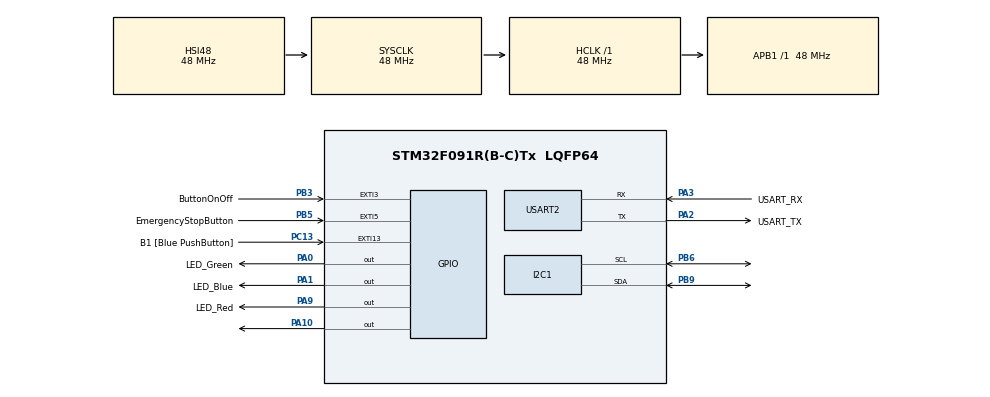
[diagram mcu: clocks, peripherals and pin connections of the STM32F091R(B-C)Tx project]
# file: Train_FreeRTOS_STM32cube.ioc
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Mcu.Family=STM32F0
Mcu.Name=STM32F091R(B-C)Tx
Mcu.Package=LQFP64
NVIC.EXTI2_3_IRQn=true\:0\:0\:false\:false\:true\:true\:true\:true
NVIC.EXTI4_15_IRQn=true\:0\:0\:false\:false\:true\:true\:true\:true
NVIC.I2C1_IRQn=true\:0\:0\:false\:false\:true\:true\:true\:true
NVIC.TIM6_DAC_IRQn=true\:3\:0\:false\:false\:true\:false\:true\:true
NVIC.TimeBase=TIM6_DAC_IRQn
NVIC.TimeBaseIP=TIM6
PA0.GPIO_Label=LED_Green
PA0.Signal=GPIO_Output
PA1.GPIO_Label=LED_Blue
PA1.Signal=GPIO_Output
PA10.Signal=GPIO_Output
PA13.GPIO_Label=TMS
PA13.Signal=SYS_SWDIO
PA14.GPIO_Label=TCK
PA14.Signal=SYS_SWCLK
PA2.GPIO_Label=USART_TX
PA2.GPIO_Mode=GPIO_MODE_AF_PP
PA2.GPIO_PuPd=GPIO_NOPULL
PA2.GPIO_Speed=GPIO_SPEED_FREQ_LOW
PA2.Mode=Asynchronous
PA2.Signal=USART2_TX
PA3.GPIO_Label=USART_RX
PA3.GPIO_Mode=GPIO_MODE_AF_PP
PA3.GPIO_PuPd=GPIO_NOPULL
PA3.GPIO_Speed=GPIO_SPEED_FREQ_LOW
PA3.Mode=Asynchronous
PA3.Signal=USART2_RX
PA4.GPIO_PuPd=GPIO_NOPULL
PA4.Signal=SPI1_NSS
PA5.GPIO_PuPd=GPIO_PULLUP
PA5.Signal=SPI1_SCK
PA6.GPIO_PuPd=GPIO_PULLUP
PA6.Signal=SPI1_MISO
PA7.GPIO_PuPd=GPIO_PULLUP
PA7.Signal=SPI1_MOSI
PA9.GPIO_Label=LED_Red
PA9.Signal=GPIO_Output
PB3.GPIO_Label=ButtonOnOff
PB3.GPIO_PuPd=GPIO_PULLUP
PB3.Signal=GPXTI3
PB5.GPIO_Label=EmergencyStopButton
PB5.GPIO_PuPd=GPIO_PULLUP
PB5.Signal=GPXTI5
PB6.GPIO_Pu=GPIO_PULLUP
PB6.Mode=I2C
PB6.Signal=I2C1_SCL
PB9.GPIO_Pu=GPIO_PULLUP
PB9.Mode=I2C
PB9.Signal=I2C1_SDA
PC13.GPIO_Label=B1 [Blue PushButton]
PC13.GPIO_ModeDefaultEXTI=GPIO_MODE_IT_FALLING
PC13.Signal=GPXTI13
PC14OSC32_IN.Signal=RCC_OSC32_IN
PC15OSC32_OUT.Signal=RCC_OSC32_OUT
PF0-OSC_IN.Signal=RCC_OSC_IN
PF1-OSC_OUT.Signal=RCC_OSC_OUT
ProjectManager.HeapSize=0x200
ProjectManager.StackSize=0x400
ProjectManager.TargetToolchain=STM32CubeIDE
RCC.AHBFreq_Value=48000000
RCC.APB1Freq_Value=48000000
RCC.APB1TimFreq_Value=48000000
RCC.FLatency-AdvancedSettings=FLASH_LATENCY_1
RCC.HCLKFreq_Value=48000000
RCC.PLLDivider=RCC_PREDIV_DIV2
RCC.PLLMUL=RCC_PLL_MUL12
RCC.PREFETCH_ENABLE-AdvancedSettings=1
RCC.SYSCLKFreq_VALUE=48000000
RCC.SYSCLKSource=RCC_SYSCLKSOURCE_HSI48
USART2.VirtualMode-Asynchronous=VM_ASYNC
VP_SYS_VS_tim6.Mode=TIM6
board=NUCLEO-F091RC

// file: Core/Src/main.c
/* USER CODE BEGIN Header */
/**
  ******************************************************************************
  * @file           : main.c
  * @brief          : Main program body
  ******************************************************************************
  * @attention
  *
  * Copyright (c) 2023 STMicroelectronics.
  * All rights reserved.
  *
  * This software is licensed under terms that can be found in the LICENSE file
  * in the root directory of this software component.
  * If no LICENSE file comes with this software, it is provided AS-IS.
  *
  ******************************************************************************
  */
/* USER CODE END Header */
#include "main.h"

/* USER CODE BEGIN PTD */
/** FSM RELATED **/
typedef enum {OFF_STATE, ON_STATE, EMERGENCY_STATE} MEF1_STATES; //known states (constants) of the MEF (Moore)
typedef uint8_t (*evaluateEvent) (void); //pointer to a function that evaluates an event
typedef struct {evaluateEvent Event; uint8_t nextState; } MEF_Transition; //transition defined by an event and next state after event evaluation
typedef void (*MEF_Action) (); //pointer to a function for the state actions (on entry/during/on exit
typedef struct {
	MEF_Action onEntry; //what to do on entry
	MEF_Action During; //what to do during the state
	MEF_Action onExit; //what to do just before exiting the state
	uint8_t numberTransitions;
	MEF_Transition *arrayTransitions;
}MEF_State; //state of an MEF
typedef struct {
	volatile uint8_t MEF_Active; //if MEF is active or not
	volatile uint8_t currentState; //MEF1_STATES or MEF2_STATES,etc.
	uint8_t numberStates; //number of states of the MEF
	volatile uint8_t flagStateChange; //if there has been a change of states
	MEF_State *arrayStates;
	//moved to MEF_State: MEF_Transition *arrayTransitions;
} MEF_MEF; //MEF

/* USER CODE END PTD */

/* USER CODE BEGIN PD */
/** FSM RELATED **/
#define FSM_INACTIVE 0
#define FSM_ACTIVE 1
#define NUMBER_STATES 3
#define STATE_NOT_CHANGED 0
#define STATE_CHANGED 1
#define FALSE 0
#define TRUE 1
#define NUMBER_TRANSITIONS_OFF 3
#define NUMBER_TRANSITIONS_ON 3
#define NUMBER_TRANSITIONS_EMERGENCY 3

/*Temperature, I2C (ADS1115)*/
#define LENGTH_QUEUE_TEMP 2
#define ADS1115_ADDRESS (0x48) //0x48 is address of ADS1115 when ADDR connected to GND
#define ADS1115_CONVERSION_REGISTER_BYTES 2
#define ADS1115_GAIN 4076 //Gain amplifier in mV, check ADS1115 datasheet
#define ADS1115_MAX 32768 //15 bytes

//Group of event flags (bits) for the LCD_Arduino task
#define FLAG_STATUS_CHANGED (1<<0)
#define FLAG_STATION_CHANGED (1<<1)
#define FLAG_SPEED_CHANGED (1<<2)

/* USER CODE END PD */

I2C_HandleTypeDef hi2c1;

UART_HandleTypeDef huart2;

/* USER CODE BEGIN PV */
uint8_t uiFlagOnOff = FALSE; //handled by ButtonOnOff_Pin interrupt handler. button with spring return, not switch
uint8_t uiFlagEmergency = FALSE;//handled by EmergencyStopButton_Pin interrupt handler. button with spring return, not switch

//Group of event flags (bits) for the LCD_Arduino task
EventGroupHandle_t xGroupFlagsLCDArduino;
EventBits_t uxBitsFlagsLCDArduino;

//Temperature(I2C). Receive an item from a queue. The item is received by copy so a buffer of adequate size must be provided.
QueueHandle_t xQueue_Temperature = NULL;
volatile uint16_t uiBuffer_QueueTemperature;
uint8_t uiBytes_to_ADS1115_reg[3] = {0x00,0x00,0x00}; //for ADS1115 configuration (it can require 3 bytes)
uint8_t uiBytes_from_ADS1115[2] = {0x00,0x00}; //data received from ADS1115 (conversion register)
volatile uint16_t uiLastADS1115_raw = 0;
volatile uint16_t uiLastADS1115_mV = 0;
uint16_t uiADS1115_address = ADS1115_ADDRESS<<1; //STM32 HAL for I2C transmit/receive requires left shift
volatile uint8_t uiStep = 0; //needed for transmission/reception if we use IT functions,because they return OK after every byte sent and calls seem to be overwritten

/* USER CODE END PV */

void SystemClock_Config(void);
static void MX_GPIO_Init(void);
static void MX_USART2_UART_Init(void);
static void MX_I2C1_Init(void);
/* USER CODE BEGIN PFP */
/** FSM functions **/
// Related to states: onEntry, during, onExit
void onEntry_Off();
void during_Off();
void onExit_Off();
void onEntry_On();
void during_On();
void onExit_On();
void onEntry_Emergency();
void during_Emergency();
void onExit_Emergency();
// Evaluate events for transitions
uint8_t evaluate_Event_Off_to_On();
uint8_t evaluate_Event_Off_to_Emergency();
uint8_t evaluate_Event_Off_Off();
uint8_t evaluate_Event_On_to_Off();
uint8_t evaluate_Event_On_to_Emergency();
uint8_t evaluate_Event_On_On();
uint8_t evaluate_Event_Emergency_to_Off();
uint8_t evaluate_Event_Emergency_to_On();
uint8_t evaluate_Event_Emergency_Emergency();

/** Task handlers **/
static void FSM_task_handler (void *parameters);
static void Motor_Control_task_handler (void *parameters);
static void Read_Temperature_task_handler (void *parameters);
static void LCD_Arduino_task_handler (void *parameters);

//Task handles, I call them pointers to avoid confussion with handlers (which are functions)
TaskHandle_t FSM_taskPointer;
TaskHandle_t Motor_Control_taskPointer;
TaskHandle_t Read_Temperature_taskPointer;
TaskHandle_t LCD_Arduino_taskPointer;

/*For the usage of printf via HAL_UART_Transmit*/
#ifdef __GNUC__
#define PUTCHAR_PROTOTYPE int __io_putchar(int ch)
#else
#define PUTCHAR_PROTOTYPE int fputc(int ch, FILE *f)
#endif

PUTCHAR_PROTOTYPE
{
  HAL_UART_Transmit(&huart2, (uint8_t *)&ch, 1, HAL_MAX_DELAY);
  return ch;
}

/* USER CODE END PFP */

/* USER CODE BEGIN 0 */
//Transitions
MEF_Transition OFF_TRANSITIONS[NUMBER_TRANSITIONS_OFF] = {
		  {evaluate_Event_Off_Off, OFF_STATE},
		  {evaluate_Event_Off_to_On, ON_STATE},
		  {evaluate_Event_Off_to_Emergency, EMERGENCY_STATE}
};
MEF_Transition ON_TRANSITIONS[NUMBER_TRANSITIONS_ON] = {
		  {evaluate_Event_On_On, ON_STATE},
		  {evaluate_Event_On_to_Off, OFF_STATE},
		  {evaluate_Event_On_to_Emergency, EMERGENCY_STATE}
};
MEF_Transition EMERGENCY_TRANSITIONS[NUMBER_TRANSITIONS_EMERGENCY] = {
		  {evaluate_Event_Emergency_Emergency, EMERGENCY_STATE},
		  {evaluate_Event_Emergency_to_Off, OFF_STATE},
		  {evaluate_Event_Emergency_to_On, ON_STATE}
};
//States
MEF_State MEF1_STATES_ARRAY[NUMBER_STATES] = {
		  {onEntry_Off, during_Off, onExit_Off, NUMBER_TRANSITIONS_OFF, OFF_TRANSITIONS},
		  {onEntry_On, during_On, onExit_On, NUMBER_TRANSITIONS_ON, ON_TRANSITIONS},
		  {onEntry_Emergency, during_Emergency, onExit_Emergency, NUMBER_TRANSITIONS_EMERGENCY, EMERGENCY_TRANSITIONS}
};
//FSM instances
MEF_MEF MEF1 = {FSM_ACTIVE, OFF_STATE, NUMBER_STATES, STATE_NOT_CHANGED, MEF1_STATES_ARRAY};
/* USER CODE END 0 */

int main(void)
{
  /* USER CODE BEGIN 1 */
  //Status from tasks (BaseType_t is the most efficient data type for the architecture;i.e.:32-bit for 32-bit architecture)
  BaseType_t task_Status;
  //Event of flags for LCD Arduino task
  xGroupFlagsLCDArduino = xEventGroupCreate();
  if (xGroupFlagsLCDArduino == NULL){
	  printf("Not possible to create xFlagsLCDArduino event group \n");
  }

  /* USER CODE END 1 */

  /* MCU Configuration--------------------------------------------------------*/

  /* Reset of all peripherals, Initializes the Flash interface and the Systick. */
  HAL_Init();

  /* Configure the system clock */
  SystemClock_Config();

  /* Initialize all configured peripherals */
  MX_GPIO_Init();
  MX_USART2_UART_Init();
  MX_I2C1_Init();
  /* USER CODE BEGIN 2 */
  //although I could turn on the blue LED (OFF state) in MX_GPIO_Init,I prefer to do call the OFF entry
  onEntry_Off();
  //I decide to set priorities higher than tskIDLE_PRIORITY.
  //FSM control highest prio as I want that OnOff/Emergency interrupts wakes the task
  task_Status = xTaskCreate(FSM_task_handler, "FSMcontrol", 200, NULL, tskIDLE_PRIORITY+2, &FSM_taskPointer);
  configASSERT(task_Status == pdPASS); //if false, then infinite loop. good for debugging

  task_Status = xTaskCreate(Motor_Control_task_handler, "MotorControl", 200, NULL, tskIDLE_PRIORITY+1, &Motor_Control_taskPointer);
  configASSERT(task_Status == pdPASS); //if false, then infinite loop. good for debugging

  //Create queue for reading temperature. if the queue is not created, do not create the task
  xQueue_Temperature = xQueueCreate(LENGTH_QUEUE_TEMP, sizeof(uint16_t));
  if (xQueue_Temperature != NULL){
	  task_Status = xTaskCreate(Read_Temperature_task_handler, "ReadTemperature", 200, NULL, tskIDLE_PRIORITY+1, &Read_Temperature_taskPointer);
	  configASSERT(task_Status == pdPASS); //if false, then infinite loop. good for debugging
  }
  else{
	  printf("xQueue_Temperature failed to be created \n");
  }

  task_Status = xTaskCreate(LCD_Arduino_task_handler, "LCDArduino", 200, NULL, tskIDLE_PRIORITY+1, &LCD_Arduino_taskPointer);
  configASSERT(task_Status == pdPASS); //if false, then infinite loop. good for debugging

  //Start scheduler
  vTaskStartScheduler();
  //Code should not reach here. vTaskStartScheduler must have failed due to insufficient heap memory?

  /* USER CODE END 2 */

  /* Infinite loop */
  while (1)
  {

  }
}

void SystemClock_Config(void)
{
  RCC_OscInitTypeDef RCC_OscInitStruct = {0};
  RCC_ClkInitTypeDef RCC_ClkInitStruct = {0};
  RCC_PeriphCLKInitTypeDef PeriphClkInit = {0};

  /** Initializes the RCC Oscillators according to the specified parameters
  * in the RCC_OscInitTypeDef structure.
  */
  RCC_OscInitStruct.OscillatorType = RCC_OSCILLATORTYPE_HSI|RCC_OSCILLATORTYPE_HSI48;
  RCC_OscInitStruct.HSIState = RCC_HSI_ON;
  RCC_OscInitStruct.HSI48State = RCC_HSI48_ON;
  RCC_OscInitStruct.HSICalibrationValue = RCC_HSICALIBRATION_DEFAULT;
  RCC_OscInitStruct.PLL.PLLState = RCC_PLL_NONE;
  if (HAL_RCC_OscConfig(&RCC_OscInitStruct) != HAL_OK)
  {
    Error_Handler();
  }

  /** Initializes the CPU, AHB and APB buses clocks
  */
  RCC_ClkInitStruct.ClockType = RCC_CLOCKTYPE_HCLK|RCC_CLOCKTYPE_SYSCLK
                              |RCC_CLOCKTYPE_PCLK1;
  RCC_ClkInitStruct.SYSCLKSource = RCC_SYSCLKSOURCE_HSI48;
  RCC_ClkInitStruct.AHBCLKDivider = RCC_SYSCLK_DIV1;
  RCC_ClkInitStruct.APB1CLKDivider = RCC_HCLK_DIV1;

  if (HAL_RCC_ClockConfig(&RCC_ClkInitStruct, FLASH_LATENCY_1) != HAL_OK)
  {
    Error_Handler();
  }
  PeriphClkInit.PeriphClockSelection = RCC_PERIPHCLK_USART2|RCC_PERIPHCLK_I2C1;
  PeriphClkInit.Usart2ClockSelection = RCC_USART2CLKSOURCE_PCLK1;
  PeriphClkInit.I2c1ClockSelection = RCC_I2C1CLKSOURCE_HSI;
  if (HAL_RCCEx_PeriphCLKConfig(&PeriphClkInit) != HAL_OK)
  {
    Error_Handler();
  }
}

static void MX_I2C1_Init(void)
{

  hi2c1.Instance = I2C1;
  hi2c1.Init.Timing = 0x2000090E;
  hi2c1.Init.OwnAddress1 = 0;
  hi2c1.Init.AddressingMode = I2C_ADDRESSINGMODE_7BIT;
  hi2c1.Init.DualAddressMode = I2C_DUALADDRESS_DISABLE;
  hi2c1.Init.OwnAddress2 = 0;
  hi2c1.Init.OwnAddress2Masks = I2C_OA2_NOMASK;
  hi2c1.Init.GeneralCallMode = I2C_GENERALCALL_DISABLE;
  hi2c1.Init.NoStretchMode = I2C_NOSTRETCH_DISABLE;
  if (HAL_I2C_Init(&hi2c1) != HAL_OK)
  {
    Error_Handler();
  }

  /** Configure Analogue filter
  */
  if (HAL_I2CEx_ConfigAnalogFilter(&hi2c1, I2C_ANALOGFILTER_ENABLE) != HAL_OK)
  {
    Error_Handler();
  }

  /** Configure Digital filter
  */
  if (HAL_I2CEx_ConfigDigitalFilter(&hi2c1, 0) != HAL_OK)
  {
    Error_Handler();
  }

}

static void MX_USART2_UART_Init(void)
{

  huart2.Instance = USART2;
  huart2.Init.BaudRate = 115200;
  huart2.Init.WordLength = UART_WORDLENGTH_8B;
  huart2.Init.StopBits = UART_STOPBITS_1;
  huart2.Init.Parity = UART_PARITY_NONE;
  huart2.Init.Mode = UART_MODE_TX_RX;
  huart2.Init.HwFlowCtl = UART_HWCONTROL_NONE;
  huart2.Init.OverSampling = UART_OVERSAMPLING_16;
  huart2.Init.OneBitSampling = UART_ONE_BIT_SAMPLE_DISABLE;
  huart2.AdvancedInit.AdvFeatureInit = UART_ADVFEATURE_NO_INIT;
  if (HAL_UART_Init(&huart2) != HAL_OK)
  {
    Error_Handler();
  }

}

static void MX_GPIO_Init(void)
{
  GPIO_InitTypeDef GPIO_InitStruct = {0};

  /* GPIO Ports Clock Enable */
  __HAL_RCC_GPIOC_CLK_ENABLE();
  __HAL_RCC_GPIOF_CLK_ENABLE();
  __HAL_RCC_GPIOA_CLK_ENABLE();
  __HAL_RCC_GPIOB_CLK_ENABLE();

  /*Configure GPIO pin Output Level */
  HAL_GPIO_WritePin(GPIOA, LED_Green_Pin|LED_Blue_Pin|LED_Red_Pin|GPIO_PIN_10, GPIO_PIN_RESET);

  /*Configure GPIO pin : B1_Pin */
  GPIO_InitStruct.Pin = B1_Pin;
  GPIO_InitStruct.Mode = GPIO_MODE_IT_FALLING;
  GPIO_InitStruct.Pull = GPIO_NOPULL;
  HAL_GPIO_Init(B1_GPIO_Port, &GPIO_InitStruct);

  /*Configure GPIO pins : LED_Green_Pin LED_Blue_Pin LED_Red_Pin PA10 */
  GPIO_InitStruct.Pin = LED_Green_Pin|LED_Blue_Pin|LED_Red_Pin|GPIO_PIN_10;
  GPIO_InitStruct.Mode = GPIO_MODE_OUTPUT_PP;
  GPIO_InitStruct.Pull = GPIO_NOPULL;
  GPIO_InitStruct.Speed = GPIO_SPEED_FREQ_LOW;
  HAL_GPIO_Init(GPIOA, &GPIO_InitStruct);

  /*Configure GPIO pin : PA4 */
  GPIO_InitStruct.Pin = GPIO_PIN_4;
  GPIO_InitStruct.Mode = GPIO_MODE_AF_PP;
  GPIO_InitStruct.Pull = GPIO_NOPULL;
  GPIO_InitStruct.Speed = GPIO_SPEED_FREQ_HIGH;
  GPIO_InitStruct.Alternate = GPIO_AF0_SPI1;
  HAL_GPIO_Init(GPIOA, &GPIO_InitStruct);

  /*Configure GPIO pins : PA5 PA6 PA7 */
  GPIO_InitStruct.Pin = GPIO_PIN_5|GPIO_PIN_6|GPIO_PIN_7;
  GPIO_InitStruct.Mode = GPIO_MODE_AF_PP;
  GPIO_InitStruct.Pull = GPIO_PULLUP;
  GPIO_InitStruct.Speed = GPIO_SPEED_FREQ_HIGH;
  GPIO_InitStruct.Alternate = GPIO_AF0_SPI1;
  HAL_GPIO_Init(GPIOA, &GPIO_InitStruct);

  /*Configure GPIO pins : ButtonOnOff_Pin EmergencyStopButton_Pin */
  GPIO_InitStruct.Pin = ButtonOnOff_Pin|EmergencyStopButton_Pin;
  GPIO_InitStruct.Mode = GPIO_MODE_IT_RISING;
  GPIO_InitStruct.Pull = GPIO_PULLUP;
  HAL_GPIO_Init(GPIOB, &GPIO_InitStruct);

  /* EXTI interrupt init*/
  HAL_NVIC_SetPriority(EXTI2_3_IRQn, 0, 0);
  HAL_NVIC_EnableIRQ(EXTI2_3_IRQn);

  HAL_NVIC_SetPriority(EXTI4_15_IRQn, 0, 0);
  HAL_NVIC_EnableIRQ(EXTI4_15_IRQn);

}

/* USER CODE BEGIN 4 */
// Related to states: onEntry, during, onExit
void onEntry_Off(){
	//turn on blue LED, turn off the rest
	HAL_GPIO_WritePin(LED_Blue_GPIO_Port, LED_Blue_Pin, GPIO_PIN_SET);
	HAL_GPIO_WritePin(LED_Red_GPIO_Port, LED_Red_Pin, GPIO_PIN_RESET);
	HAL_GPIO_WritePin(LED_Green_GPIO_Port, LED_Green_Pin, GPIO_PIN_RESET);
}
void during_Off(){}
void onExit_Off(){}
void onEntry_On(){
	//turn on green LED, turn off the rest
	HAL_GPIO_WritePin(LED_Green_GPIO_Port, LED_Green_Pin, GPIO_PIN_SET);
	HAL_GPIO_WritePin(LED_Red_GPIO_Port, LED_Red_Pin, GPIO_PIN_RESET);
	HAL_GPIO_WritePin(LED_Blue_GPIO_Port, LED_Blue_Pin, GPIO_PIN_RESET);
}
void during_On(){}
void onExit_On(){}
void onEntry_Emergency(){
	//turn on red LED, turn off the rest
	HAL_GPIO_WritePin(LED_Red_GPIO_Port, LED_Red_Pin, GPIO_PIN_SET);
	HAL_GPIO_WritePin(LED_Green_GPIO_Port, LED_Green_Pin, GPIO_PIN_RESET);
	HAL_GPIO_WritePin(LED_Blue_GPIO_Port, LED_Blue_Pin, GPIO_PIN_RESET);
}
void during_Emergency(){}
void onExit_Emergency(){}
// Evaluate events for transitions
uint8_t evaluate_Event_Off_to_On(){
	if (uiFlagOnOff && !uiFlagEmergency){
		//clear flag
		uiFlagOnOff = FALSE;
		return TRUE;
	}
	return FALSE;
}
uint8_t evaluate_Event_Off_to_Emergency(){
	if (uiFlagEmergency){
		//clear flag
		uiFlagEmergency = FALSE;
		return TRUE;
	}
	return FALSE;
}
uint8_t evaluate_Event_Off_Off(){
	if (!uiFlagOnOff && !uiFlagEmergency){//no change
		return TRUE;
	}
	return FALSE;
}
uint8_t evaluate_Event_On_to_Off(){
	if (uiFlagOnOff && !uiFlagEmergency){
		//clear flag
		uiFlagOnOff = FALSE;
		return TRUE;
	}
	return FALSE;
}
uint8_t evaluate_Event_On_to_Emergency(){
	if (uiFlagEmergency){
		//clear flag
		uiFlagEmergency = FALSE;
		return TRUE;
	}
	return FALSE;
}
uint8_t evaluate_Event_On_On(){
	if (!uiFlagOnOff && !uiFlagEmergency){ //no change
		return TRUE;
	}
	return FALSE;
}
uint8_t evaluate_Event_Emergency_to_Off(){
	//to undo emergency state,emergency button has to be pressed again. system can switch off in the middle of an emergency state
	if (uiFlagEmergency && uiFlagOnOff){
		//clear flags
		uiFlagEmergency = FALSE;
		uiFlagOnOff = FALSE;
		return TRUE;
	}
	return FALSE;
}
uint8_t evaluate_Event_Emergency_to_On(){
	//to undo emergency state,emergency button has to be pressed again.
	if (uiFlagEmergency){
		//clear flag
		uiFlagEmergency = FALSE;
		return TRUE;
	}
	return FALSE;
}
uint8_t evaluate_Event_Emergency_Emergency(){
	if (!uiFlagEmergency){ //no change
		return TRUE;
	}
	return FALSE;
}
/** Task handlers **/
static void FSM_task_handler (void *parameters){
	//task sleeps until an interrupt from on/off or emergency stop button happens
	//L-value not necessary <-- static uint32_t uiFSM_notification;

	//don't do 'static MEF_State *pState = MEF1.arrayStates' because In old C objects with static storage duration have to be initialized with constant expressions (literal constants)
	static MEF_State *pState; //initialization to NULL
	static MEF_Transition *pT;
	uint8_t uiTrans;
	for(;;){
		//waken up by a GPIO interrupt handler
		ulTaskNotifyTake(pdTRUE, portMAX_DELAY); //uiFSM_notification = ... not necessary
		//Print
		printf("FSM\n");
		pState = MEF1.arrayStates;
		pT = pState[MEF1.currentState].arrayTransitions;
		//evaluate the state by iterating over the number of transitions of the current state
		for (uiTrans = 0; uiTrans < pState[MEF1.currentState].numberTransitions; uiTrans++){
			if (pT[uiTrans].Event() == TRUE){ //event true, transition activated
				// execute exit function of the state
				pState[MEF1.currentState].onExit();
				//assign next state, update the MEF and execute entry/do actions
				if (MEF1.currentState != pT[uiTrans].nextState) { //flag state changed
					MEF1.flagStateChange = STATE_CHANGED;
					MEF1.currentState = pT[uiTrans].nextState;
					//entry action of new state
					MEF1.arrayStates[MEF1.currentState].onEntry();
				}
				else{
					MEF1.flagStateChange = STATE_NOT_CHANGED;
					//do action
					MEF1.arrayStates[MEF1.currentState].During();
				}
				//connection with LCD_Arduino task
				uxBitsFlagsLCDArduino = xEventGroupSetBits(xGroupFlagsLCDArduino, (MEF1.flagStateChange)&FLAG_STATUS_CHANGED);
				//exit the loop
				break;
			}
		}

	}
}

static void Motor_Control_task_handler (void *parameters){
	//high priority if using real motor. if not real motor, based on SW timer

	for(;;){
		//Print
		//printf("Motor\n");
		//if state is off/emergency, speed target is 0. If on, it depends on the distance to the station
		switch(MEF1.currentState) {
		case OFF_STATE:
			//Print
			//printf(" OFF\n");
			break;
		case ON_STATE:
			//Print
			//printf(" ON\n");
			break;
		case EMERGENCY_STATE:
			//Print
			//printf(" EMER\n");
			break;
		default:
			//Print
			printf("Motor error\n");
			break;
		}
	}
}

static void Read_Temperature_task_handler (void *parameters){
	//periodic function. Block for 5000 ms. */
	const TickType_t xReadTemp_Delay = 5000 / portTICK_PERIOD_MS;

	for(;;){
		//Print
		printf("Temperature\n");
		//Configure I2C communication
		/*HAL_I2C_Master_Sequential_Transmit_IT:The device 7 bits address value in datasheet must be shifted to the left before calling the interface.
		*Returns almost immediately and lets the main program continue, while the I2C transfer is in progress.
		*That's why I'm using uiStep, in order not to overwrite calls */
		switch(uiStep){
		case 0:
			//0.1.Write to config reg (0x01 points to it)
			uiBytes_to_ADS1115_reg[0] = 0x01;
			//0.2.+-4.076V,128 sps,b14-12 110:INp=AIN0 AInn=GND (single ended meas A0).b15:begin single conversion.b8: 1-single shot
			uiBytes_to_ADS1115_reg[1] = 0xC3; //0b11000011 (MSB)
			uiBytes_to_ADS1115_reg[2] = 0x83; //0b10000011 (LSB)
			if (HAL_I2C_Master_Transmit_IT(&hi2c1, uiADS1115_address, uiBytes_to_ADS1115_reg, 3) != HAL_OK){
				printf("err1\n");
			}
			break;
		case 1://1.Select the conversion register by writing to pointer reg:address+0x00(points to conversion register)
			uiBytes_to_ADS1115_reg[0] = 0x00; //0x00(points to conversion register)
			if (HAL_I2C_Master_Transmit_IT(&hi2c1, uiADS1115_address, uiBytes_to_ADS1115_reg, 1) != HAL_OK){
				printf("err2\n");
			}
			break;
		case 2: //2.Reception
			if (HAL_I2C_Master_Receive_IT(&hi2c1, uiADS1115_address, uiBytes_from_ADS1115, ADS1115_CONVERSION_REGISTER_BYTES) != HAL_OK){
				printf("err3\n");
			}
			//Wait for reception from queue.Block for 10 ticks if a message is not immediately available.later on,restart transmission
			if(xQueueReceive( xQueue_Temperature, (void *)&uiBuffer_QueueTemperature, (TickType_t) 10 ) == pdPASS )
			{
				//uiBuffer_QueueTemperature now contains a copy of xQueue_Temperature
				printf(":%d\n", uiBuffer_QueueTemperature);
			}
			else{
				printf("EmptyQ\n");
			}
			break;
		default://error
			printf("NoCase\n");
			uiStep = 0;//start transmission -> uiStep=0
			break;
		}

		//Block the task for a period of ticks
		vTaskDelay(xReadTemp_Delay);
	}
}

static void LCD_Arduino_task_handler (void *parameters){
	//Task blocked until a flag of the event group is active
	//I want to wait forever,leaving blocked state only when unblock condition happens.const TickType_t xTicksToWait_LCDArduino = 1/portTICK_PERIOD_MS; //1 ms

	for(;;){
		//Print
		printf("LCD\n");
		//wait for any flag active ( xWaitForAllBits=FALSE).Clear the active flags ( xClearOnExit=pdTRUE)
		//uxBitsFlagsLCDArduino = xEventGroupWaitBits(xGroupFlagsLCDArduino, FLAG_SPEED_CHANGED|FLAG_STATION_CHANGED|FLAG_STATUS_CHANGED, pdTRUE, pdFALSE, xTicksToWait_LCDArduino);
		uxBitsFlagsLCDArduino = xEventGroupWaitBits(xGroupFlagsLCDArduino, FLAG_SPEED_CHANGED|FLAG_STATION_CHANGED|FLAG_STATUS_CHANGED, pdTRUE, pdFALSE, portMAX_DELAY);
		//enable SPI

		//send to Arduino: state + station + temperature

		//disable SPI
	}
}

//EXTI interrupt handler (OnOff button or emergency stop). __weak void overwritten
void HAL_GPIO_EXTI_Callback(uint16_t GPIO_Pin){
	BaseType_t xHigherPriorityTaskWoken = pdFALSE;
	//from OnOff button
	if (GPIO_Pin == ButtonOnOff_Pin){
		//set/reset flag
		uiFlagOnOff = TRUE;
		//notify task FSM

	}
	//from emergency stop
	if (GPIO_Pin == EmergencyStopButton_Pin){
		//set/reset flag
		uiFlagEmergency = TRUE;
		//notify task FSM

	}
	// Notify the thread so it will wake up when the ISR is complete
	vTaskNotifyGiveFromISR(FSM_taskPointer, &xHigherPriorityTaskWoken);
	/*Force a context switch if xHigherPriorityTaskWoken is now set to pdTRUE. If vTaskNotifyGiveFromISR indicates that a higher priority task is being woken,
	 *portYIELD_FROM_ISR() routine will context switch to that task after returning from the ISR.Failure to use this function will result
	 *in execution resuming at previous point rather than switching to new context*/
	portYIELD_FROM_ISR(xHigherPriorityTaskWoken);
}

//I2C reception handler callback. __weak void overwritten
void HAL_I2C_MasterRxCpltCallback (I2C_HandleTypeDef *hi2c){
	if (hi2c->Instance == hi2c1.Instance){ //I2C1
		BaseType_t xHigherPriorityTaskWoken = pdFALSE;
		uiLastADS1115_raw = (uiBytes_from_ADS1115[0] << 8)|(uiBytes_from_ADS1115[1]); //byteRead is LSB and firstByteRead is MSB
		uiLastADS1115_mV = uiLastADS1115_raw * ADS1115_GAIN/ADS1115_MAX;
		xQueueSendFromISR(xQueue_Temperature, (void *)&uiLastADS1115_mV, &xHigherPriorityTaskWoken);
		//switch context if necessary. */
		if( xHigherPriorityTaskWoken )
		{
			portYIELD_FROM_ISR(xHigherPriorityTaskWoken);
		}
		uiStep++;
		uiStep%=3;
	}

}

//I2C transmission handler callback. __weak void overwritten
void HAL_I2C_MasterTxCpltCallback (I2C_HandleTypeDef *hi2c){
	if (hi2c->Instance == hi2c1.Instance){ //I2C1
		uiStep++;
		uiStep%=3;
	}
}
/* USER CODE END 4 */

void HAL_TIM_PeriodElapsedCallback(TIM_HandleTypeDef *htim)
{
  if (htim->Instance == TIM6) {
    HAL_IncTick();
  }
}

void Error_Handler(void)
{
  __disable_irq();
  while (1)
  {
  }
}
